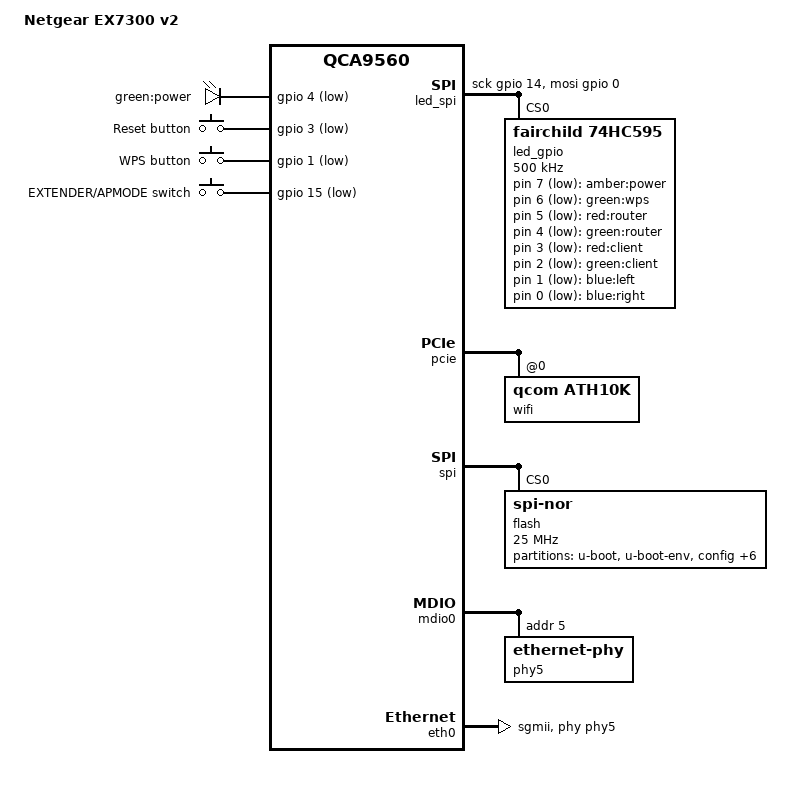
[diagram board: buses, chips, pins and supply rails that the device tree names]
// SPDX-License-Identifier: GPL-2.0-or-later OR MIT

#include "qca956x.dtsi"

#include <dt-bindings/gpio/gpio.h>
#include <dt-bindings/input/input.h>

/ {
	model = "Netgear EX7300 v2";
	compatible = "netgear,ex7300-v2", "qca,qcn5500", "qca,qca9560";

	aliases {
		led-boot = &led_power_green;
		led-failsafe = &led_power_amber;
		led-running = &led_power_green;
		led-upgrade = &led_power_amber;
		label-mac-device = &eth0;
	};

	led_spi {
		compatible = "spi-gpio";
		#address-cells = <1>;
		#size-cells = <0>;

		sck-gpios = <&gpio 14 GPIO_ACTIVE_HIGH>;
		mosi-gpios = <&gpio 0 GPIO_ACTIVE_HIGH>;
		num-chipselects = <0>;

		led_gpio: led_gpio@0 {
			compatible = "fairchild,74hc595";
			reg = <0>;
			gpio-controller;
			#gpio-cells = <2>;
			registers-number = <1>;
			spi-max-frequency = <500000>;
		};
	};

	leds {
		compatible = "gpio-leds";

		led_power_green: power_green {
			label = "green:power";
			gpios = <&gpio 4 GPIO_ACTIVE_LOW>;
		};

		led_power_amber: power_amber {
			label = "amber:power";
			gpios = <&led_gpio 7 GPIO_ACTIVE_LOW>;
		};

		wps_green {
			label = "green:wps";
			gpios = <&led_gpio 6 GPIO_ACTIVE_LOW>;
		};

		router_red {
			label = "red:router";
			gpios = <&led_gpio 5 GPIO_ACTIVE_LOW>;
		};

		router_green {
			label = "green:router";
			gpios = <&led_gpio 4 GPIO_ACTIVE_LOW>;
		};

		client_red {
			label = "red:client";
			gpios = <&led_gpio 3 GPIO_ACTIVE_LOW>;
		};

		client_green {
			label = "green:client";
			gpios = <&led_gpio 2 GPIO_ACTIVE_LOW>;
		};

		left_blue {
			label = "blue:left";
			gpios = <&led_gpio 1 GPIO_ACTIVE_LOW>;
		};

		right_blue {
			label = "blue:right";
			gpios = <&led_gpio 0 GPIO_ACTIVE_LOW>;
		};
	};

	keys {
		compatible = "gpio-keys";

		reset {
			label = "Reset button";
			linux,code = <KEY_RESTART>;
			gpios = <&gpio 3 GPIO_ACTIVE_LOW>;
			debounce-interval = <60>;
		};

		wps {
			label = "WPS button";
			linux,code = <KEY_WPS_BUTTON>;
			gpios = <&gpio 1 GPIO_ACTIVE_LOW>;
			debounce-interval = <60>;
		};

		extender_apmode {
			label = "EXTENDER/APMODE switch";
			gpios = <&gpio 15 GPIO_ACTIVE_LOW>;
			linux,code = <BTN_0>;
			linux,input-type = <EV_SW>;
			debounce-interval = <60>;
		};
	};
};

&pcie {
	status = "okay";

	wifi@0,0 {
		compatible = "qcom,ath10k";
		reg = <0 0 0 0 0>;

		nvmem-cells = <&macaddr_artmtd_c>, <&precal_art_5000>;
		nvmem-cell-names = "mac-address", "pre-calibration";
	};
};

&pll {
	clocks = <&extosc>;
};

&spi {
	status = "okay";

	flash@0 {
		compatible = "jedec,spi-nor";
		reg = <0>;
		spi-max-frequency = <25000000>;

		partitions {
			compatible = "fixed-partitions";
			#address-cells = <1>;
			#size-cells = <1>;

			partition@0 {
				label = "u-boot";
				reg = <0x000000 0x040000>;
				read-only;
			};

			partition@40000 {
				label = "u-boot-env";
				reg = <0x040000 0x010000>;
				read-only;
			};

			partition@50000 {
				label = "config";
				reg = <0x050000 0x010000>;
			};

			partition@60000 {
				label = "pot";
				reg = <0x060000 0x010000>;
				read-only;
			};

			partition@70000 {
				label = "firmware";
				reg = <0x70000 0xe30000>;
				compatible = "denx,uimage";
			};

			partition@ea0000 {
				label = "rae";
				reg = <0xea0000 0x100000>;
				read-only;
			};

			partition@fa0000 {
				label = "oopsdump";
				reg = <0xfa0000 0x40000>;
				read-only;
			};

			partition@fe0000 {
				label = "artmtd";
				reg = <0xfe0000 0x10000>;

				compatible = "nvmem-cells";
				#address-cells = <1>;
				#size-cells = <1>;

				macaddr_artmtd_0: macaddr@0 {
					reg = <0x0 0x6>;
				};

				macaddr_artmtd_6: macaddr@6 {
					reg = <0x6 0x6>;
				};

				macaddr_artmtd_c: macaddr@c {
					reg = <0xc 0x6>;
				};
			};

			partition@ff0000 {
				label = "art";
				reg = <0xff0000 0x10000>;
				read-only;

				compatible = "nvmem-cells";
				#address-cells = <1>;
				#size-cells = <1>;

				cal_art_1000: cal@1000 {
					reg = <0x1000 0x440>;
				};

				precal_art_5000: precal@5000 {
					reg = <0x5000 0x2f20>;
				};
			};
		};
	};
};


&wmac {
	/* Does not work due to lack of QCN5502 support in ath9k. */
	status = "disabled";

	nvmem-cells = <&macaddr_artmtd_6>, <&cal_art_1000>;
	nvmem-cell-names = "mac-address", "calibration";
};

&mdio0 {
	status = "okay";

	phy5: ethernet-phy@5 {
		reg = <5>;
		phy-mode = "sgmii";
	};
};

&eth0 {
	status = "okay";

	nvmem-cells = <&macaddr_artmtd_0>;
	nvmem-cell-names = "mac-address";

	phy-handle = <&phy5>;
	phy-mode = "sgmii";

	pll-data = <0x03000000 0x00000101 0x00001313>;
};
